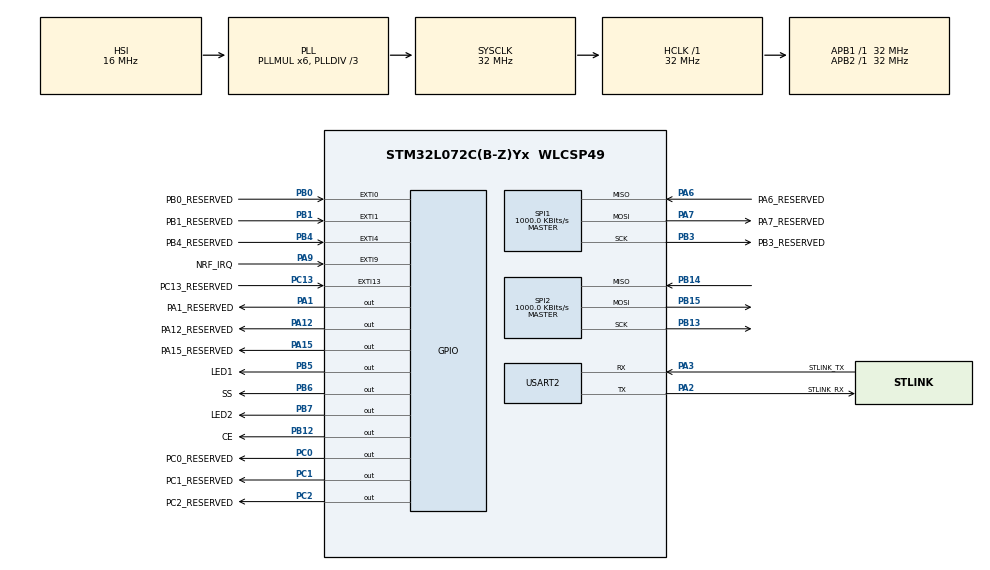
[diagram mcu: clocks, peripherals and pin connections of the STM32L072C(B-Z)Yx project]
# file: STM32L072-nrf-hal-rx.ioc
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Mcu.Family=STM32L0
Mcu.Name=STM32L072C(B-Z)Yx
Mcu.Package=WLCSP49
NVIC.EXTI0_1_IRQn=true\:0\:0\:false\:false\:true\:true\:true\:true
NVIC.EXTI4_15_IRQn=true\:0\:0\:false\:false\:true\:true\:true\:true
NVIC.RTC_IRQn=true\:0\:0\:false\:false\:true\:true\:true\:true
NVIC.USART2_IRQn=true\:0\:0\:false\:false\:true\:true\:true\:true
PA1.GPIO_Label=PA1_RESERVED
PA1.GPIO_Speed=GPIO_SPEED_FREQ_HIGH
PA1.PinState=GPIO_PIN_RESET
PA1.Signal=GPIO_Output
PA12.GPIO_Label=PA12_RESERVED
PA12.GPIO_Speed=GPIO_SPEED_FREQ_HIGH
PA12.Signal=GPIO_Output
PA15.GPIO_Label=PA15_RESERVED
PA15.GPIO_Speed=GPIO_SPEED_FREQ_HIGH
PA15.Signal=GPIO_Output
PA2.GPIO_Label=STLINK_RX
PA2.Mode=Asynchronous
PA2.Signal=USART2_TX
PA3.GPIO_Label=STLINK_TX
PA3.Mode=Asynchronous
PA3.Signal=USART2_RX
PA6.GPIO_Label=PA6_RESERVED
PA6.Mode=Full_Duplex_Master
PA6.Signal=SPI1_MISO
PA7.GPIO_Label=PA7_RESERVED
PA7.Mode=Full_Duplex_Master
PA7.Signal=SPI1_MOSI
PA9.GPIO_Label=NRF_IRQ
PA9.Signal=GPXTI9
PB0.GPIO_Label=PB0_RESERVED
PB0.Signal=GPXTI0
PB1.GPIO_Label=PB1_RESERVED
PB1.Signal=GPXTI1
PB12.GPIO_Label=CE
PB12.Signal=GPIO_Output
PB13.Mode=Full_Duplex_Master
PB13.Signal=SPI2_SCK
PB14.Mode=Full_Duplex_Master
PB14.Signal=SPI2_MISO
PB15.Mode=Full_Duplex_Master
PB15.Signal=SPI2_MOSI
PB3.GPIO_Label=PB3_RESERVED
PB3.Mode=Full_Duplex_Master
PB3.Signal=SPI1_SCK
PB4.GPIO_Label=PB4_RESERVED
PB4.Signal=GPXTI4
PB5.GPIO_Label=LED1
PB5.Signal=GPIO_Output
PB6.GPIO_Label=SS
PB6.Signal=GPIO_Output
PB7.GPIO_Label=LED2
PB7.Signal=GPIO_Output
PC0.GPIO_Label=PC0_RESERVED
PC0.GPIO_Speed=GPIO_SPEED_FREQ_HIGH
PC0.Signal=GPIO_Output
PC1.GPIO_Label=PC1_RESERVED
PC1.GPIO_Speed=GPIO_SPEED_FREQ_HIGH
PC1.Signal=GPIO_Output
PC13.GPIO_Label=PC13_RESERVED
PC13.Signal=GPXTI13
PC2.GPIO_Label=PC2_RESERVED
PC2.GPIO_Speed=GPIO_SPEED_FREQ_HIGH
PC2.Signal=GPIO_Output
PH0-OSC_IN.Signal=RCC_OSC_IN
PH1-OSC_OUT.Signal=RCC_OSC_OUT
ProjectManager.HeapSize=0x200
ProjectManager.StackSize=0x400
ProjectManager.TargetToolchain=STM32CubeIDE
RCC.AHBFreq_Value=32000000
RCC.APB1Freq_Value=32000000
RCC.APB1TimFreq_Value=32000000
RCC.APB2Freq_Value=32000000
RCC.APB2TimFreq_Value=32000000
RCC.HCLKFreq_Value=32000000
RCC.HSE_VALUE=8000000
RCC.HSI16_VALUE=16000000
RCC.HSI48_VALUE=48000000
RCC.HSI_VALUE=16000000
RCC.LSE_VALUE=32768
RCC.MSI_VALUE=2097000
RCC.PLLDIV=RCC_PLLDIV_3
RCC.PLLMUL=RCC_PLLMUL_6
RCC.SYSCLKFreq_VALUE=32000000
RCC.SYSCLKSource=RCC_SYSCLKSOURCE_PLLCLK
RCC.VCOOutputFreq_Value=96000000
RTC.Alarm-Alarm\ A=RTC_ALARM_A
RTC.AlarmSubSecondMask-Alarm\ A=RTC_ALARMSUBSECONDMASK_NONE
RTC.AsynchPrediv=31
RTC.Format=RTC_FORMAT_BIN
RTC.SynchPrediv=1023
SPI1.BaudRatePrescaler=SPI_BAUDRATEPRESCALER_32
SPI1.CalculateBaudRate=1000.0 KBits/s
SPI1.Direction=SPI_DIRECTION_2LINES
SPI1.Mode=SPI_MODE_MASTER
SPI1.VirtualType=VM_MASTER
SPI2.BaudRatePrescaler=SPI_BAUDRATEPRESCALER_32
SPI2.CalculateBaudRate=1000.0 KBits/s
SPI2.Direction=SPI_DIRECTION_2LINES
SPI2.Mode=SPI_MODE_MASTER
SPI2.VirtualType=VM_MASTER
USART2.VirtualMode-Asynchronous=VM_ASYNC
VP_RTC_VS_RTC_Activate.Mode=RTC_Enabled
VP_RTC_VS_RTC_Alarm_A_Intern.Mode=Alarm A
VP_RTC_VS_RTC_Calendar.Mode=RTC_Calendar
board=B-L072Z-LRWAN1

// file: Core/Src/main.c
/* USER CODE BEGIN Header */
/**
  ******************************************************************************
  * @file           : main.c
  * @brief          : Main program body
  ******************************************************************************
  * @attention
  *
  * Copyright (c) 2022 STMicroelectronics.
  * All rights reserved.
  *
  * This software is licensed under terms that can be found in the LICENSE file
  * in the root directory of this software component.
  * If no LICENSE file comes with this software, it is provided AS-IS.
  *
  ******************************************************************************
  */
/* USER CODE END Header */
#include "main.h"

/* USER CODE BEGIN Includes */
#include <stdio.h>
#include "nrf_hal_stm32.h"
#include <string.h>
/* USER CODE END Includes */

/* USER CODE BEGIN PD */
#define CHANNEL 20
#define true 1
#define false 0
/* USER CODE END PD */

/* USER CODE BEGIN PM */
#define chip_enable() HAL_GPIO_WritePin(CE_GPIO_Port, CE_Pin, GPIO_PIN_SET)
#define chip_disable()  HAL_GPIO_WritePin(CE_GPIO_Port, CE_Pin, GPIO_PIN_RESET)
/* USER CODE END PM */

 RTC_HandleTypeDef hrtc;

SPI_HandleTypeDef hspi1;
SPI_HandleTypeDef hspi2;

UART_HandleTypeDef huart2;

void SystemClock_Config(void);
static void MX_GPIO_Init(void);
static void MX_RTC_Init(void);
static void MX_SPI1_Init(void);
static void MX_USART2_UART_Init(void);
static void MX_SPI2_Init(void);
/* USER CODE BEGIN PFP */
void init_rx(void);
void restart_rx(void);
/* USER CODE END PFP */

int main(void)
{
  /* USER CODE BEGIN 1 */
	static uint8_t rx[NRF_MAX_PL] = {};
	int cnt=0;
  /* USER CODE END 1 */

  /* MCU Configuration--------------------------------------------------------*/

  /* Reset of all peripherals, Initializes the Flash interface and the Systick. */
  HAL_Init();

  /* Configure the system clock */
  SystemClock_Config();

  /* Initialize all configured peripherals */
  MX_GPIO_Init();
  MX_RTC_Init();
  MX_SPI1_Init();
  MX_USART2_UART_Init();
  MX_SPI2_Init();
  /* USER CODE BEGIN 2 */
  restart_rx();
  uint8_t addr[5];
  char rcvd_string[12] = "Received: \"";
  char end_rcvd_string[4] = "\"\r\n";
  char sp_buf[36];

  hal_nrf_get_address(HAL_NRF_PIPE0, addr);
  sprintf(sp_buf, "P0 addr: %02x:%02x:%02x:%02x:%02x         \r\n", addr[0], addr[1], addr[2], addr[3], addr[4]);
  HAL_UART_Transmit(&huart2,(uint8_t*) sp_buf, sizeof(sp_buf), HAL_MAX_DELAY);

  sprintf(sp_buf, "Tuned up, waiting for messages...\r\n");
  HAL_UART_Transmit(&huart2,(uint8_t*) sp_buf, sizeof(sp_buf), HAL_MAX_DELAY);
  /* USER CODE END 2 */

  /* Infinite loop */
  /* USER CODE BEGIN WHILE */
  while (1)
  {
	  uint8_t irq_flg;
	  irq_flg = hal_nrf_get_clear_irq_flags();
	  if (irq_flg & (1U<<HAL_NRF_RX_DR))
	  {
		  /* read RX FIFO of received messages */
		  while (!hal_nrf_rx_fifo_empty())
		  {
			  hal_nrf_read_rx_payload(rx);
			  if (rx[0]==0xAB)
			  {
				  HAL_UART_Transmit(&huart2,(uint8_t*) rcvd_string, sizeof(rcvd_string), HAL_MAX_DELAY);
				  HAL_UART_Transmit(&huart2, &rx[1], NRF_MAX_PL-1, HAL_MAX_DELAY);
				  HAL_UART_Transmit(&huart2,(uint8_t*) end_rcvd_string, sizeof(end_rcvd_string), HAL_MAX_DELAY);
			  }
		  }
		  cnt = 0;
	  }
    /* USER CODE END WHILE */

    /* USER CODE BEGIN 3 */
	if (cnt >= 5000)
	{
		cnt = 0;
		restart_rx();
	}
	else
	{
		HAL_Delay(1);
		cnt++;
	}

  }
  /* USER CODE END 3 */
}

void SystemClock_Config(void)
{
  RCC_OscInitTypeDef RCC_OscInitStruct = {0};
  RCC_ClkInitTypeDef RCC_ClkInitStruct = {0};
  RCC_PeriphCLKInitTypeDef PeriphClkInit = {0};

  /** Configure the main internal regulator output voltage
  */
  __HAL_PWR_VOLTAGESCALING_CONFIG(PWR_REGULATOR_VOLTAGE_SCALE1);

  /** Initializes the RCC Oscillators according to the specified parameters
  * in the RCC_OscInitTypeDef structure.
  */
  RCC_OscInitStruct.OscillatorType = RCC_OSCILLATORTYPE_HSI|RCC_OSCILLATORTYPE_LSI;
  RCC_OscInitStruct.HSIState = RCC_HSI_ON;
  RCC_OscInitStruct.HSICalibrationValue = RCC_HSICALIBRATION_DEFAULT;
  RCC_OscInitStruct.LSIState = RCC_LSI_ON;
  RCC_OscInitStruct.PLL.PLLState = RCC_PLL_ON;
  RCC_OscInitStruct.PLL.PLLSource = RCC_PLLSOURCE_HSI;
  RCC_OscInitStruct.PLL.PLLMUL = RCC_PLLMUL_6;
  RCC_OscInitStruct.PLL.PLLDIV = RCC_PLLDIV_3;
  if (HAL_RCC_OscConfig(&RCC_OscInitStruct) != HAL_OK)
  {
    Error_Handler();
  }

  /** Initializes the CPU, AHB and APB buses clocks
  */
  RCC_ClkInitStruct.ClockType = RCC_CLOCKTYPE_HCLK|RCC_CLOCKTYPE_SYSCLK
                              |RCC_CLOCKTYPE_PCLK1|RCC_CLOCKTYPE_PCLK2;
  RCC_ClkInitStruct.SYSCLKSource = RCC_SYSCLKSOURCE_PLLCLK;
  RCC_ClkInitStruct.AHBCLKDivider = RCC_SYSCLK_DIV1;
  RCC_ClkInitStruct.APB1CLKDivider = RCC_HCLK_DIV1;
  RCC_ClkInitStruct.APB2CLKDivider = RCC_HCLK_DIV1;

  if (HAL_RCC_ClockConfig(&RCC_ClkInitStruct, FLASH_LATENCY_1) != HAL_OK)
  {
    Error_Handler();
  }
  PeriphClkInit.PeriphClockSelection = RCC_PERIPHCLK_USART2|RCC_PERIPHCLK_RTC;
  PeriphClkInit.Usart2ClockSelection = RCC_USART2CLKSOURCE_PCLK1;
  PeriphClkInit.RTCClockSelection = RCC_RTCCLKSOURCE_LSI;
  if (HAL_RCCEx_PeriphCLKConfig(&PeriphClkInit) != HAL_OK)
  {
    Error_Handler();
  }
}

static void MX_RTC_Init(void)
{

  RTC_TimeTypeDef sTime = {0};
  RTC_DateTypeDef sDate = {0};
  RTC_AlarmTypeDef sAlarm = {0};

  /** Initialize RTC Only
  */
  hrtc.Instance = RTC;
  hrtc.Init.HourFormat = RTC_HOURFORMAT_24;
  hrtc.Init.AsynchPrediv = 31;
  hrtc.Init.SynchPrediv = 1023;
  hrtc.Init.OutPut = RTC_OUTPUT_DISABLE;
  hrtc.Init.OutPutRemap = RTC_OUTPUT_REMAP_NONE;
  hrtc.Init.OutPutPolarity = RTC_OUTPUT_POLARITY_HIGH;
  hrtc.Init.OutPutType = RTC_OUTPUT_TYPE_OPENDRAIN;
  if (HAL_RTC_Init(&hrtc) != HAL_OK)
  {
    Error_Handler();
  }

  /** Initialize RTC and set the Time and Date
  */
  sTime.Hours = 0;
  sTime.Minutes = 0;
  sTime.Seconds = 0;
  sTime.DayLightSaving = RTC_DAYLIGHTSAVING_NONE;
  sTime.StoreOperation = RTC_STOREOPERATION_RESET;
  if (HAL_RTC_SetTime(&hrtc, &sTime, RTC_FORMAT_BIN) != HAL_OK)
  {
    Error_Handler();
  }
  sDate.WeekDay = RTC_WEEKDAY_MONDAY;
  sDate.Month = RTC_MONTH_JANUARY;
  sDate.Date = 1;
  sDate.Year = 0;

  if (HAL_RTC_SetDate(&hrtc, &sDate, RTC_FORMAT_BIN) != HAL_OK)
  {
    Error_Handler();
  }

  /** Enable the Alarm A
  */
  sAlarm.AlarmTime.Hours = 0;
  sAlarm.AlarmTime.Minutes = 0;
  sAlarm.AlarmTime.Seconds = 0;
  sAlarm.AlarmTime.SubSeconds = 0;
  sAlarm.AlarmTime.DayLightSaving = RTC_DAYLIGHTSAVING_NONE;
  sAlarm.AlarmTime.StoreOperation = RTC_STOREOPERATION_RESET;
  sAlarm.AlarmMask = RTC_ALARMMASK_NONE;
  sAlarm.AlarmSubSecondMask = RTC_ALARMSUBSECONDMASK_NONE;
  sAlarm.AlarmDateWeekDaySel = RTC_ALARMDATEWEEKDAYSEL_DATE;
  sAlarm.AlarmDateWeekDay = 1;
  sAlarm.Alarm = RTC_ALARM_A;
  if (HAL_RTC_SetAlarm_IT(&hrtc, &sAlarm, RTC_FORMAT_BIN) != HAL_OK)
  {
    Error_Handler();
  }

}

static void MX_SPI1_Init(void)
{

  /* SPI1 parameter configuration*/
  hspi1.Instance = SPI1;
  hspi1.Init.Mode = SPI_MODE_MASTER;
  hspi1.Init.Direction = SPI_DIRECTION_2LINES;
  hspi1.Init.DataSize = SPI_DATASIZE_8BIT;
  hspi1.Init.CLKPolarity = SPI_POLARITY_LOW;
  hspi1.Init.CLKPhase = SPI_PHASE_1EDGE;
  hspi1.Init.NSS = SPI_NSS_SOFT;
  hspi1.Init.BaudRatePrescaler = SPI_BAUDRATEPRESCALER_32;
  hspi1.Init.FirstBit = SPI_FIRSTBIT_MSB;
  hspi1.Init.TIMode = SPI_TIMODE_DISABLE;
  hspi1.Init.CRCCalculation = SPI_CRCCALCULATION_DISABLE;
  hspi1.Init.CRCPolynomial = 7;
  if (HAL_SPI_Init(&hspi1) != HAL_OK)
  {
    Error_Handler();
  }

}

static void MX_SPI2_Init(void)
{

  /* SPI2 parameter configuration*/
  hspi2.Instance = SPI2;
  hspi2.Init.Mode = SPI_MODE_MASTER;
  hspi2.Init.Direction = SPI_DIRECTION_2LINES;
  hspi2.Init.DataSize = SPI_DATASIZE_8BIT;
  hspi2.Init.CLKPolarity = SPI_POLARITY_LOW;
  hspi2.Init.CLKPhase = SPI_PHASE_1EDGE;
  hspi2.Init.NSS = SPI_NSS_SOFT;
  hspi2.Init.BaudRatePrescaler = SPI_BAUDRATEPRESCALER_32;
  hspi2.Init.FirstBit = SPI_FIRSTBIT_MSB;
  hspi2.Init.TIMode = SPI_TIMODE_DISABLE;
  hspi2.Init.CRCCalculation = SPI_CRCCALCULATION_DISABLE;
  hspi2.Init.CRCPolynomial = 7;
  if (HAL_SPI_Init(&hspi2) != HAL_OK)
  {
    Error_Handler();
  }

}

static void MX_USART2_UART_Init(void)
{

  huart2.Instance = USART2;
  huart2.Init.BaudRate = 115200;
  huart2.Init.WordLength = UART_WORDLENGTH_8B;
  huart2.Init.StopBits = UART_STOPBITS_1;
  huart2.Init.Parity = UART_PARITY_NONE;
  huart2.Init.Mode = UART_MODE_TX_RX;
  huart2.Init.HwFlowCtl = UART_HWCONTROL_NONE;
  huart2.Init.OverSampling = UART_OVERSAMPLING_16;
  huart2.Init.OneBitSampling = UART_ONE_BIT_SAMPLE_DISABLE;
  huart2.AdvancedInit.AdvFeatureInit = UART_ADVFEATURE_NO_INIT;
  if (HAL_UART_Init(&huart2) != HAL_OK)
  {
    Error_Handler();
  }

}

static void MX_GPIO_Init(void)
{
  GPIO_InitTypeDef GPIO_InitStruct = {0};

  /* GPIO Ports Clock Enable */
  __HAL_RCC_GPIOA_CLK_ENABLE();
  __HAL_RCC_GPIOB_CLK_ENABLE();
  __HAL_RCC_GPIOC_CLK_ENABLE();
  __HAL_RCC_GPIOH_CLK_ENABLE();

  /*Configure GPIO pin Output Level */
  HAL_GPIO_WritePin(GPIOA, PA15_RESERVED_Pin|PA12_RESERVED_Pin|PA1_RESERVED_Pin, GPIO_PIN_RESET);

  /*Configure GPIO pin Output Level */
  HAL_GPIO_WritePin(GPIOB, LED1_Pin|SS_Pin|LED2_Pin|CE_Pin, GPIO_PIN_RESET);

  /*Configure GPIO pin Output Level */
  HAL_GPIO_WritePin(GPIOC, PC1_RESERVED_Pin|PC0_RESERVED_Pin|PC2_RESERVED_Pin, GPIO_PIN_RESET);

  /*Configure GPIO pins : PA15_RESERVED_Pin PA12_RESERVED_Pin PA1_RESERVED_Pin */
  GPIO_InitStruct.Pin = PA15_RESERVED_Pin|PA12_RESERVED_Pin|PA1_RESERVED_Pin;
  GPIO_InitStruct.Mode = GPIO_MODE_OUTPUT_PP;
  GPIO_InitStruct.Pull = GPIO_NOPULL;
  GPIO_InitStruct.Speed = GPIO_SPEED_FREQ_HIGH;
  HAL_GPIO_Init(GPIOA, &GPIO_InitStruct);

  /*Configure GPIO pins : LED1_Pin SS_Pin LED2_Pin CE_Pin */
  GPIO_InitStruct.Pin = LED1_Pin|SS_Pin|LED2_Pin|CE_Pin;
  GPIO_InitStruct.Mode = GPIO_MODE_OUTPUT_PP;
  GPIO_InitStruct.Pull = GPIO_NOPULL;
  GPIO_InitStruct.Speed = GPIO_SPEED_FREQ_LOW;
  HAL_GPIO_Init(GPIOB, &GPIO_InitStruct);

  /*Configure GPIO pins : PB4_RESERVED_Pin PB1_RESERVED_Pin PB0_RESERVED_Pin */
  GPIO_InitStruct.Pin = PB4_RESERVED_Pin|PB1_RESERVED_Pin|PB0_RESERVED_Pin;
  GPIO_InitStruct.Mode = GPIO_MODE_IT_RISING;
  GPIO_InitStruct.Pull = GPIO_NOPULL;
  HAL_GPIO_Init(GPIOB, &GPIO_InitStruct);

  /*Configure GPIO pin : PC13_RESERVED_Pin */
  GPIO_InitStruct.Pin = PC13_RESERVED_Pin;
  GPIO_InitStruct.Mode = GPIO_MODE_IT_RISING;
  GPIO_InitStruct.Pull = GPIO_NOPULL;
  HAL_GPIO_Init(PC13_RESERVED_GPIO_Port, &GPIO_InitStruct);

  /*Configure GPIO pins : PC1_RESERVED_Pin PC0_RESERVED_Pin PC2_RESERVED_Pin */
  GPIO_InitStruct.Pin = PC1_RESERVED_Pin|PC0_RESERVED_Pin|PC2_RESERVED_Pin;
  GPIO_InitStruct.Mode = GPIO_MODE_OUTPUT_PP;
  GPIO_InitStruct.Pull = GPIO_NOPULL;
  GPIO_InitStruct.Speed = GPIO_SPEED_FREQ_HIGH;
  HAL_GPIO_Init(GPIOC, &GPIO_InitStruct);

  /*Configure GPIO pin : NRF_IRQ_Pin */
  GPIO_InitStruct.Pin = NRF_IRQ_Pin;
  GPIO_InitStruct.Mode = GPIO_MODE_IT_RISING;
  GPIO_InitStruct.Pull = GPIO_NOPULL;
  HAL_GPIO_Init(NRF_IRQ_GPIO_Port, &GPIO_InitStruct);

  /* EXTI interrupt init*/
  HAL_NVIC_SetPriority(EXTI0_1_IRQn, 0, 0);
  HAL_NVIC_EnableIRQ(EXTI0_1_IRQn);

  HAL_NVIC_SetPriority(EXTI4_15_IRQn, 0, 0);
  HAL_NVIC_EnableIRQ(EXTI4_15_IRQn);

}

/* USER CODE BEGIN 4 */
void init_rx()
{
    hal_nrf_flush_rx();
    hal_nrf_flush_tx();

    // clear all extra features for the purpose of this example
    hal_nrf_enable_dynamic_payload(false);
    hal_nrf_enable_ack_payload(false);
    hal_nrf_enable_dynamic_ack(false);

    hal_nrf_set_rf_channel(CHANNEL);
    hal_nrf_set_datarate(HAL_NRF_1MBPS);
    hal_nrf_set_crc_mode(HAL_NRF_CRC_16BIT);

    // RX setup: use default pipe 0 address
    hal_nrf_set_operation_mode(HAL_NRF_PRX);

    hal_nrf_close_pipe(HAL_NRF_ALL);
    hal_nrf_config_rx_pipe(HAL_NRF_PIPE0, NULL, true, NRF_MAX_PL);

    // TX output power for auto ack
    hal_nrf_set_output_power(HAL_NRF_0DBM);
    chip_enable();
}

void restart_rx()
{
	chip_disable();
	hal_nrf_init(&hspi2, HAL_MAX_DELAY);

	hal_nrf_set_power_mode(HAL_NRF_PWR_DOWN);
	HAL_Delay(1);

	hal_nrf_set_power_mode(HAL_NRF_PWR_UP);
	HAL_Delay(2);

	init_rx();

	chip_enable();
	HAL_Delay(1);
}
/* USER CODE END 4 */

void Error_Handler(void)
{
  __disable_irq();
  while (1)
  {
  }
}
